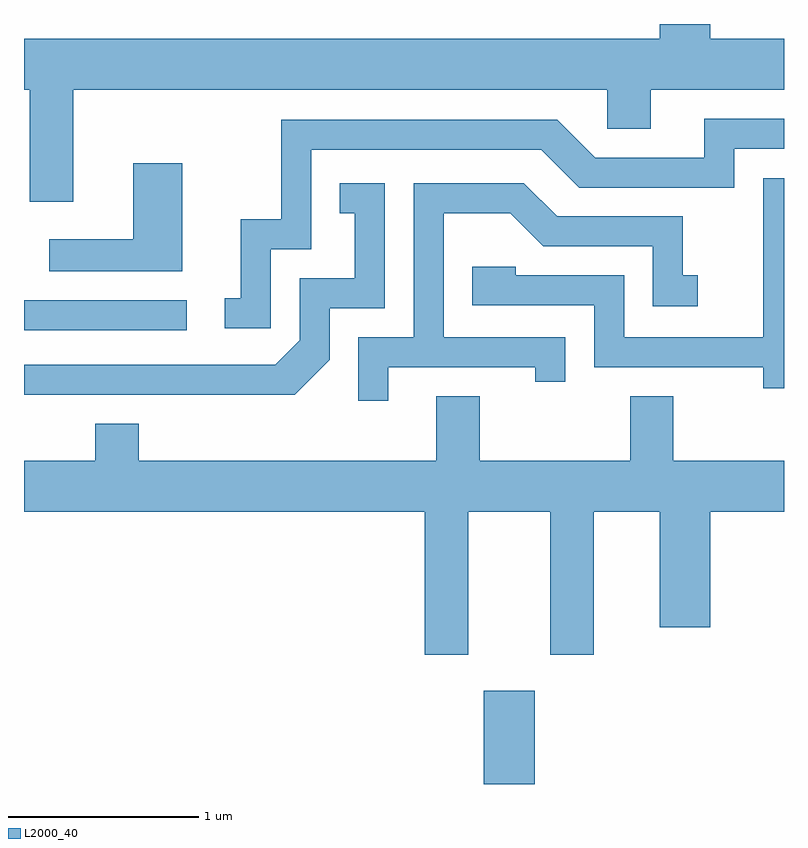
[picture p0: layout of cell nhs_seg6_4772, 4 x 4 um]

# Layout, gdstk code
import gdstk
lib = gdstk.Library(unit=1e-6, precision=1e-09)
def R(c, l, rs):  # rectangles x0, y0, x1, y1
    for r in rs: c.add(gdstk.rectangle(r[:2], r[2:], *l))
def P(c, l, *ps):  # polygons
    for p in ps: c.add(gdstk.Polygon(p, *l))
L2000_40 = (2000, 40)

nhs_seg6_4772 = lib.new_cell('nhs_seg6_4772')
R(nhs_seg6_4772, L2000_40, [(334.031,1544.162,334.299,1544.654), (331.611,1546.551,332.468,1546.709)])
P(nhs_seg6_4772, L2000_40, [(331.869,1547.816),(334.681,1547.816),(334.681,1547.611),(334.909,1547.611),(334.909,1547.816),(335.611,1547.816),(335.611,1548.084),(335.224,1548.084),(335.224,1548.162),(334.956,1548.162),(334.956,1548.084),(331.611,1548.084),(331.611,1547.816),(331.641,1547.816),(331.641,1547.226),(331.869,1547.226)],
  [(332.909,1546.976),(333.124,1546.976),(333.124,1547.501),(334.334,1547.501),(334.534,1547.301),(335.349,1547.301),(335.349,1547.506),(335.611,1547.506),(335.611,1547.664),(335.191,1547.664),(335.191,1547.459),(334.617,1547.459),(334.417,1547.659),(332.966,1547.659),(332.966,1547.134),(332.751,1547.134),(332.751,1546.719),(332.668,1546.719),(332.668,1546.561),(332.909,1546.561)],
  [(332.444,1547.429),(332.186,1547.429),(332.186,1547.029),(331.743,1547.029),(331.743,1546.861),(332.444,1546.861)],
  [(335.611,1547.349),(335.501,1547.349),(335.501,1546.514),(334.769,1546.514),(334.769,1546.839),(334.199,1546.839),(334.199,1546.884),(333.971,1546.884),(333.971,1546.681),(334.611,1546.681),(334.611,1546.356),(335.501,1546.356),(335.501,1546.246),(335.611,1546.246)],
  [(333.529,1546.356),(334.301,1546.356),(334.301,1546.278),(334.459,1546.278),(334.459,1546.514),(333.819,1546.514),(333.819,1547.166),(334.169,1547.166),(334.344,1546.991),(334.921,1546.991),(334.921,1546.676),(335.158,1546.676),(335.158,1546.839),(335.079,1546.839),(335.079,1547.149),(334.417,1547.149),(334.242,1547.324),(333.661,1547.324),(333.661,1546.514),(333.371,1546.514),(333.371,1546.178),(333.529,1546.178)],
  [(333.219,1546.394),(333.219,1546.666),(333.509,1546.666),(333.509,1547.324),(333.273,1547.324),(333.273,1547.166),(333.351,1547.166),(333.351,1546.824),(333.061,1546.824),(333.061,1546.497),(332.934,1546.369),(331.611,1546.369),(331.611,1546.211),(333.037,1546.211)],
  [(333.949,1545.596),(334.381,1545.596),(334.381,1544.841),(334.609,1544.841),(334.609,1545.596),(334.956,1545.596),(334.956,1544.986),(335.224,1544.986),(335.224,1545.596),(335.611,1545.596),(335.611,1545.864),(335.029,1545.864),(335.029,1546.204),(334.801,1546.204),(334.801,1545.864),(334.009,1545.864),(334.009,1546.204),(333.781,1546.204),(333.781,1545.864),(332.214,1545.864),(332.214,1546.059),(331.986,1546.059),(331.986,1545.864),(331.611,1545.864),(331.611,1545.596),(333.721,1545.596),(333.721,1544.841),(333.949,1544.841)])

lib.write_gds('nhs_seg6_4772.gds')
